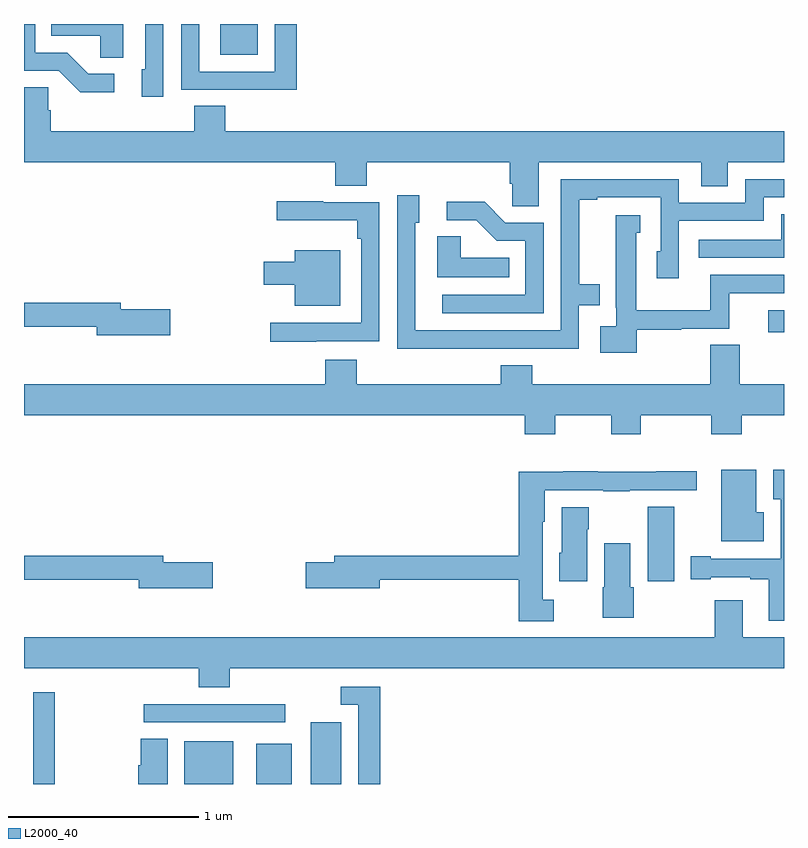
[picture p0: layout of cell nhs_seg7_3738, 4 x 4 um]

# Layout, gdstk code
import gdstk
lib = gdstk.Library(unit=1e-6, precision=1e-09)
def R(c, l, rs):  # rectangles x0, y0, x1, y1
    for r in rs: c.add(gdstk.rectangle(r[:2], r[2:], *l))
def P(c, l, *ps):  # polygons
    for p in ps: c.add(gdstk.Polygon(p, *l))
L2000_40 = (2000, 40)

nhs_seg7_3738 = lib.new_cell('nhs_seg7_3738')
R(nhs_seg7_3738, L2000_40, [(349.049,1008,349.163,1008.484), (349.844,1008,350.101,1008.226), (350.222,1008,350.41,1008.211), (350.51,1008,350.671,1008.325), (349.629,1008.324,350.374,1008.42), (352.917,1010.378,353,1010.493), (350.033,1011.839,350.23,1012)])
P(nhs_seg7_3738, L2000_40, [(349.474,1011.738),(349.339,1011.738),(349.228,1011.849),(349.059,1011.849),(349.059,1012),(349,1012),(349,1011.753),(349.182,1011.753),(349.295,1011.641),(349.474,1011.641)],
  [(350.435,1012),(350.319,1012),(350.319,1011.75),(349.923,1011.75),(349.923,1012),(349.827,1012),(349.827,1011.654),(350.143,1011.654),(350.143,1011.653),(350.435,1011.653)],
  [(349.734,1012),(349.638,1012),(349.638,1011.762),(349.619,1011.762),(349.619,1011.618),(349.734,1011.618)],
  [(349.522,1012),(349.144,1012),(349.144,1011.938),(349.401,1011.938),(349.401,1011.823),(349.522,1011.823)],
  [(350.639,1011.148),(350.804,1011.148),(350.804,1011.272),(351.557,1011.272),(351.557,1011.16),(351.571,1011.16),(351.571,1011.04),(351.709,1011.04),(351.709,1011.272),(352.565,1011.272),(352.565,1011.145),(352.705,1011.145),(352.705,1011.272),(353,1011.272),(353,1011.436),(350.06,1011.436),(350.06,1011.569),(349.895,1011.569),(349.895,1011.436),(349.142,1011.436),(349.142,1011.545),(349.128,1011.545),(349.128,1011.668),(349,1011.668),(349,1011.272),(350.639,1011.272)],
  [(351.425,1010.292),(351.921,1010.292),(351.921,1010.52),(352.03,1010.52),(352.03,1010.629),(351.923,1010.629),(351.923,1011.075),(352.018,1011.075),(352.018,1011.087),(352.35,1011.087),(352.35,1010.805),(352.331,1010.805),(352.331,1010.661),(352.446,1010.661),(352.446,1010.964),(352.893,1010.964),(352.893,1011.087),(353,1011.087),(353,1011.183),(352.797,1011.183),(352.797,1011.06),(352.446,1011.06),(352.446,1011.183),(351.825,1011.183),(351.825,1010.388),(351.06,1010.388),(351.06,1010.955),(351.079,1010.955),(351.079,1011.1),(350.964,1011.1),(350.964,1010.291),(351.425,1010.291)],
  [(350.539,1010.331),(350.871,1010.331),(350.871,1011.063),(350.575,1011.063),(350.575,1011.067),(350.331,1011.067),(350.331,1010.966),(350.755,1010.966),(350.755,1010.87),(350.775,1010.87),(350.775,1010.427),(350.295,1010.427),(350.295,1010.327),(350.539,1010.327)],
  [(351.735,1010.955),(351.534,1010.955),(351.424,1011.065),(351.225,1011.065),(351.225,1010.967),(351.381,1010.967),(351.489,1010.859),(351.639,1010.859),(351.639,1010.574),(351.201,1010.574),(351.201,1010.478),(351.735,1010.478)],
  [(352.979,1010.77),(353,1010.77),(353,1010.998),(352.986,1010.998),(352.986,1010.865),(352.551,1010.865),(352.551,1010.769),(352.979,1010.769)],
  [(352.225,1010.392),(352.458,1010.392),(352.458,1010.397),(352.712,1010.397),(352.712,1010.583),(353,1010.583),(353,1010.679),(352.613,1010.679),(352.613,1010.494),(352.222,1010.494),(352.222,1010.901),(352.243,1010.901),(352.243,1010.994),(352.115,1010.994),(352.115,1010.506),(352.116,1010.506),(352.116,1010.41),(352.032,1010.41),(352.032,1010.27),(352.225,1010.27)],
  [(351.554,1010.77),(351.298,1010.77),(351.298,1010.882),(351.176,1010.882),(351.176,1010.666),(351.554,1010.666)],
  [(350.665,1010.809),(350.426,1010.809),(350.426,1010.749),(350.262,1010.749),(350.262,1010.627),(350.426,1010.627),(350.426,1010.516),(350.665,1010.516)],
  [(349.771,1010.498),(349.51,1010.498),(349.51,1010.534),(349,1010.534),(349,1010.406),(349.382,1010.406),(349.382,1010.363),(349.771,1010.363)],
  [(351.795,1009.94),(352.09,1009.94),(352.09,1009.841),(352.245,1009.841),(352.245,1009.94),(352.618,1009.94),(352.618,1009.841),(352.778,1009.841),(352.778,1009.94),(353,1009.94),(353,1010.104),(352.767,1010.104),(352.767,1010.312),(352.612,1010.312),(352.612,1010.104),(351.674,1010.104),(351.674,1010.203),(351.509,1010.203),(351.509,1010.104),(350.75,1010.104),(350.75,1010.233),(350.585,1010.233),(350.585,1010.104),(349,1010.104),(349,1009.94),(351.635,1009.94),(351.635,1009.841),(351.795,1009.841)],
  [(352.894,1009.43),(352.855,1009.43),(352.855,1009.654),(352.67,1009.654),(352.67,1009.277),(352.894,1009.277)],
  [(353,1009.654),(352.943,1009.654),(352.943,1009.498),(352.983,1009.498),(352.983,1009.185),(352.615,1009.185),(352.615,1009.198),(352.508,1009.198),(352.508,1009.077),(352.615,1009.077),(352.615,1009.089),(352.823,1009.089),(352.823,1009.077),(352.919,1009.077),(352.919,1008.858),(353,1008.858)],
  [(351.787,1008.97),(351.73,1008.97),(351.73,1009.38),(351.742,1009.38),(351.742,1009.545),(352.048,1009.545),(352.048,1009.54),(352.187,1009.54),(352.187,1009.545),(352.54,1009.545),(352.54,1009.646),(352.327,1009.646),(352.327,1009.643),(352.021,1009.643),(352.021,1009.646),(351.838,1009.646),(351.838,1009.643),(351.605,1009.643),(351.605,1009.202),(350.633,1009.202),(350.633,1009.166),(350.484,1009.166),(350.484,1009.031),(350.872,1009.031),(350.872,1009.074),(351.605,1009.074),(351.605,1008.857),(351.787,1008.857)],
  [(352.423,1009.46),(352.283,1009.46),(352.283,1009.18),(352.284,1009.18),(352.284,1009.068),(352.423,1009.068)],
  [(351.964,1009.34),(351.972,1009.34),(351.972,1009.456),(351.83,1009.456),(351.83,1009.218),(351.818,1009.218),(351.818,1009.068),(351.964,1009.068)],
  [(352.21,1009.035),(352.192,1009.035),(352.192,1009.267),(352.055,1009.267),(352.055,1009.035),(352.046,1009.035),(352.046,1008.875),(352.21,1008.875)],
  [(349.993,1009.166),(349.732,1009.166),(349.732,1009.202),(349,1009.202),(349,1009.074),(349.604,1009.074),(349.604,1009.031),(349.993,1009.031)],
  [(350.084,1008.608),(353,1008.608),(353,1008.772),(352.783,1008.772),(352.783,1008.967),(352.636,1008.967),(352.636,1008.772),(349,1008.772),(349,1008.608),(349.919,1008.608),(349.919,1008.509),(350.084,1008.509)],
  [(350.876,1008.513),(350.667,1008.513),(350.667,1008.416),(350.76,1008.416),(350.76,1008),(350.876,1008)],
  [(349.756,1008.239),(349.615,1008.239),(349.615,1008.099),(349.601,1008.099),(349.601,1008),(349.756,1008)])

lib.write_gds('nhs_seg7_3738.gds')
